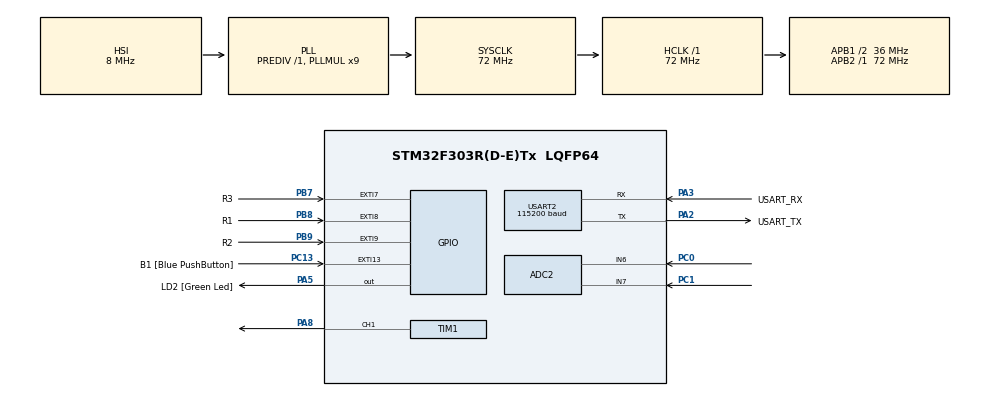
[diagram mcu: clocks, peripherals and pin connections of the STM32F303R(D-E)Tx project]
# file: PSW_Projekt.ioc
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ADC2.Channel-0\#ChannelRegularConversion=ADC_CHANNEL_6
ADC2.Channel-1\#ChannelRegularConversion=ADC_CHANNEL_6
ADC2.ClockPrescaler=ADC_CLOCK_SYNC_PCLK_DIV4
ADC2.ContinuousConvMode=ENABLE
ADC2.DMAContinuousRequests=ENABLE
ADC2.NbrOfConversion=2
ADC2.NbrOfConversionFlag=1
ADC2.Offset-0\#ChannelRegularConversion=0
ADC2.Offset-1\#ChannelRegularConversion=0
ADC2.OffsetNumber-0\#ChannelRegularConversion=ADC_OFFSET_NONE
ADC2.OffsetNumber-1\#ChannelRegularConversion=ADC_OFFSET_NONE
ADC2.Rank-0\#ChannelRegularConversion=1
ADC2.Rank-1\#ChannelRegularConversion=2
ADC2.SamplingTime-0\#ChannelRegularConversion=ADC_SAMPLETIME_601CYCLES_5
ADC2.SamplingTime-1\#ChannelRegularConversion=ADC_SAMPLETIME_601CYCLES_5
ADC2.SamplingTimeOPAMP-1\#ChannelRegularConversion=ADC_SAMPLETIME_7CYCLES_5
Dma.ADC2.0.Direction=DMA_PERIPH_TO_MEMORY
Dma.ADC2.0.Instance=DMA2_Channel1
Dma.ADC2.0.MemDataAlignment=DMA_MDATAALIGN_HALFWORD
Dma.ADC2.0.MemInc=DMA_MINC_ENABLE
Dma.ADC2.0.Mode=DMA_CIRCULAR
Dma.ADC2.0.PeriphDataAlignment=DMA_PDATAALIGN_HALFWORD
Dma.ADC2.0.PeriphInc=DMA_PINC_DISABLE
Dma.ADC2.0.Priority=DMA_PRIORITY_LOW
Dma.Request0=ADC2
Mcu.Family=STM32F3
Mcu.Name=STM32F303R(D-E)Tx
Mcu.Package=LQFP64
NVIC.DMA2_Channel1_IRQn=true\:0\:0\:false\:false\:true\:false\:true\:true
NVIC.EXTI9_5_IRQn=true\:0\:0\:false\:false\:true\:true\:true\:true
NVIC.PriorityGroup=NVIC_PRIORITYGROUP_0
PA13.GPIO_Label=TMS
PA13.Mode=Serial_Wire
PA13.Signal=SYS_JTMS-SWDIO
PA14.GPIO_Label=TCK
PA14.Mode=Serial_Wire
PA14.Signal=SYS_JTCK-SWCLK
PA2.GPIO_Label=USART_TX
PA2.GPIO_Mode=GPIO_MODE_AF_PP
PA2.GPIO_PuPd=GPIO_NOPULL
PA2.GPIO_Speed=GPIO_SPEED_FREQ_LOW
PA2.Mode=Asynchronous
PA2.Signal=USART2_TX
PA3.GPIO_Label=USART_RX
PA3.GPIO_Mode=GPIO_MODE_AF_PP
PA3.GPIO_PuPd=GPIO_NOPULL
PA3.GPIO_Speed=GPIO_SPEED_FREQ_LOW
PA3.Mode=Asynchronous
PA3.Signal=USART2_RX
PA5.GPIO_Label=LD2 [Green Led]
PA5.GPIO_Mode=GPIO_MODE_OUTPUT_PP
PA5.GPIO_PuPd=GPIO_NOPULL
PA5.GPIO_Speed=GPIO_SPEED_FREQ_LOW
PA5.Signal=GPIO_Output
PA8.Signal=S_TIM1_CH1
PB3.GPIO_Label=SWO
PB3.Signal=SYS_JTDO-TRACESWO
PB7.GPIO_Label=R3
PB7.Signal=GPXTI7
PB8.GPIO_Label=R1
PB8.Signal=GPXTI8
PB9.GPIO_Label=R2
PB9.Signal=GPXTI9
PC0.Signal=ADCx_IN6
PC1.Signal=ADCx_IN7
PC13.GPIO_Label=B1 [Blue PushButton]
PC13.GPIO_ModeDefaultEXTI=GPIO_MODE_IT_FALLING
PC13.Signal=GPXTI13
PC14-OSC32_IN.Mode=LSE-External-Oscillator
PC14-OSC32_IN.Signal=RCC_OSC32_IN
PC15-OSC32_OUT.Mode=LSE-External-Oscillator
PC15-OSC32_OUT.Signal=RCC_OSC32_OUT
PF0-OSC_IN.Mode=HSE-External-Clock-Source
PF0-OSC_IN.Signal=RCC_OSC_IN
PF1-OSC_OUT.Signal=RCC_OSC_OUT
ProjectManager.HeapSize=0x200
ProjectManager.StackSize=0x400
ProjectManager.TargetToolchain=STM32CubeIDE
RCC.AHBFreq_Value=72000000
RCC.APB1CLKDivider=RCC_HCLK_DIV2
RCC.APB1Freq_Value=36000000
RCC.APB1TimFreq_Value=72000000
RCC.APB2Freq_Value=72000000
RCC.APB2TimFreq_Value=72000000
RCC.CortexFreq_Value=72000000
RCC.HCLKFreq_Value=72000000
RCC.HSE_VALUE=8000000
RCC.HSI_VALUE=8000000
RCC.PLLM=8
RCC.PLLMUL=RCC_PLL_MUL9
RCC.PLLN=336
RCC.PLLP=RCC_PLLP_DIV4
RCC.PLLQ=7
RCC.RCC_PLLsource_Clock_Source_FROM_HSE=RCC_HSE_PREDIV_DIV2
RCC.SYSCLKFreq_VALUE=72000000
RCC.SYSCLKSourceVirtual=RCC_SYSCLKSOURCE_PLLCLK
RCC.USBFreq_Value=72000000
SH.ADCx_IN6.0=ADC2_IN6,IN6-Single-Ended
SH.ADCx_IN7.0=ADC2_IN7,IN7-Single-Ended
SH.S_TIM1_CH1.0=TIM1_CH1,PWM Generation1 CH1
TIM1.Channel-PWM\ Generation1\ CH1=TIM_CHANNEL_1
TIM1.Period=100
TIM1.Prescaler=200
TIM1.Pulse-PWM\ Generation1\ CH1=50
USART2.BaudRate=115200
USART2.VirtualMode-Asynchronous=VM_ASYNC
VP_TIM1_VS_ClockSourceINT.Mode=Internal
board=NUCLEO-F303RE

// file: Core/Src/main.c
/* USER CODE BEGIN Header */
/**
  ******************************************************************************
  * @file           : main.c
  * @brief          : Main program body
  ******************************************************************************
  * @attention
  *
  * Copyright (c) 2025 STMicroelectronics.
  * All rights reserved.
  *
  * This software is licensed under terms that can be found in the LICENSE file
  * in the root directory of this software component.
  * If no LICENSE file comes with this software, it is provided AS-IS.
  *
  ******************************************************************************
  */
/* USER CODE END Header */
#include "main.h"

/* USER CODE BEGIN Includes */
#include <stdio.h>
/* USER CODE END Includes */

ADC_HandleTypeDef hadc2;
DMA_HandleTypeDef hdma_adc2;

TIM_HandleTypeDef htim1;

UART_HandleTypeDef huart2;

void SystemClock_Config(void);
static void MX_GPIO_Init(void);
static void MX_DMA_Init(void);
static void MX_USART2_UART_Init(void);
static void MX_ADC2_Init(void);
static void MX_TIM1_Init(void);

/* USER CODE BEGIN 0 */
uint32_t currentTC=0;
uint32_t previousTC=0;
uint32_t period = 25;
int32_t duty = 0;
int32_t dir  = 1;

uint16_t Joystick[] = {0, 0};

int __io_putchar(int ch)
{
    HAL_UART_Transmit(&huart2, (uint8_t*)&ch, 1, HAL_MAX_DELAY);

    return 1;
}
/* USER CODE END 0 */

int main(void)
{

  /* MCU Configuration--------------------------------------------------------*/

  /* Reset of all peripherals, Initializes the Flash interface and the Systick. */
  HAL_Init();

  /* Configure the system clock */
  SystemClock_Config();

  /* Initialize all configured peripherals */
  MX_GPIO_Init();
  MX_DMA_Init();
  MX_USART2_UART_Init();
  MX_ADC2_Init();
  MX_TIM1_Init();
  /* USER CODE BEGIN 2 */
  HAL_ADC_Start_DMA(&hadc2, (long unsigned int *)Joystick, 2);
  HAL_TIM_PWM_Start(&htim1, TIM_CHANNEL_1);
  /* USER CODE END 2 */

  /* Infinite loop */
  /* USER CODE BEGIN WHILE */
  while (1)
  {

	 currentTC = HAL_GetTick();
	 if ((currentTC - previousTC) > period){
		 printf("%d %d \n \r", Joystick[0], Joystick[1]);

		 	__HAL_TIM_SET_COMPARE(&htim1, TIM_CHANNEL_1, duty);
		    duty += dir;

		    if (duty >= 100)
		    {
		        duty = 100;
		        dir  = -1;
		    }
		    else if (duty <= 0)
		    {
		        duty = 0;
		        dir  = +1;
		    }

		 previousTC = currentTC;
	 }else {

	 }
    /* USER CODE END WHILE */

  }
}

void SystemClock_Config(void)
{
  RCC_OscInitTypeDef RCC_OscInitStruct = {0};
  RCC_ClkInitTypeDef RCC_ClkInitStruct = {0};
  RCC_PeriphCLKInitTypeDef PeriphClkInit = {0};

  /** Initializes the RCC Oscillators according to the specified parameters
  * in the RCC_OscInitTypeDef structure.
  */
  RCC_OscInitStruct.OscillatorType = RCC_OSCILLATORTYPE_HSI;
  RCC_OscInitStruct.HSIState = RCC_HSI_ON;
  RCC_OscInitStruct.HSICalibrationValue = RCC_HSICALIBRATION_DEFAULT;
  RCC_OscInitStruct.PLL.PLLState = RCC_PLL_ON;
  RCC_OscInitStruct.PLL.PLLSource = RCC_PLLSOURCE_HSI;
  RCC_OscInitStruct.PLL.PLLMUL = RCC_PLL_MUL9;
  RCC_OscInitStruct.PLL.PREDIV = RCC_PREDIV_DIV1;
  if (HAL_RCC_OscConfig(&RCC_OscInitStruct) != HAL_OK)
  {
    Error_Handler();
  }

  /** Initializes the CPU, AHB and APB buses clocks
  */
  RCC_ClkInitStruct.ClockType = RCC_CLOCKTYPE_HCLK|RCC_CLOCKTYPE_SYSCLK
                              |RCC_CLOCKTYPE_PCLK1|RCC_CLOCKTYPE_PCLK2;
  RCC_ClkInitStruct.SYSCLKSource = RCC_SYSCLKSOURCE_PLLCLK;
  RCC_ClkInitStruct.AHBCLKDivider = RCC_SYSCLK_DIV1;
  RCC_ClkInitStruct.APB1CLKDivider = RCC_HCLK_DIV2;
  RCC_ClkInitStruct.APB2CLKDivider = RCC_HCLK_DIV1;

  if (HAL_RCC_ClockConfig(&RCC_ClkInitStruct, FLASH_LATENCY_2) != HAL_OK)
  {
    Error_Handler();
  }
  PeriphClkInit.PeriphClockSelection = RCC_PERIPHCLK_USART2|RCC_PERIPHCLK_TIM1;
  PeriphClkInit.Usart2ClockSelection = RCC_USART2CLKSOURCE_PCLK1;
  PeriphClkInit.Tim1ClockSelection = RCC_TIM1CLK_HCLK;
  if (HAL_RCCEx_PeriphCLKConfig(&PeriphClkInit) != HAL_OK)
  {
    Error_Handler();
  }
}

static void MX_ADC2_Init(void)
{

  ADC_ChannelConfTypeDef sConfig = {0};

  /** Common config
  */
  hadc2.Instance = ADC2;
  hadc2.Init.ClockPrescaler = ADC_CLOCK_SYNC_PCLK_DIV4;
  hadc2.Init.Resolution = ADC_RESOLUTION_12B;
  hadc2.Init.ScanConvMode = ADC_SCAN_ENABLE;
  hadc2.Init.ContinuousConvMode = ENABLE;
  hadc2.Init.DiscontinuousConvMode = DISABLE;
  hadc2.Init.ExternalTrigConvEdge = ADC_EXTERNALTRIGCONVEDGE_NONE;
  hadc2.Init.ExternalTrigConv = ADC_SOFTWARE_START;
  hadc2.Init.DataAlign = ADC_DATAALIGN_RIGHT;
  hadc2.Init.NbrOfConversion = 2;
  hadc2.Init.DMAContinuousRequests = ENABLE;
  hadc2.Init.EOCSelection = ADC_EOC_SINGLE_CONV;
  hadc2.Init.LowPowerAutoWait = DISABLE;
  hadc2.Init.Overrun = ADC_OVR_DATA_OVERWRITTEN;
  if (HAL_ADC_Init(&hadc2) != HAL_OK)
  {
    Error_Handler();
  }

  /** Configure Regular Channel
  */
  sConfig.Channel = ADC_CHANNEL_6;
  sConfig.Rank = ADC_REGULAR_RANK_1;
  sConfig.SingleDiff = ADC_SINGLE_ENDED;
  sConfig.SamplingTime = ADC_SAMPLETIME_601CYCLES_5;
  sConfig.OffsetNumber = ADC_OFFSET_NONE;
  sConfig.Offset = 0;
  if (HAL_ADC_ConfigChannel(&hadc2, &sConfig) != HAL_OK)
  {
    Error_Handler();
  }

  /** Configure Regular Channel
  */
  sConfig.Rank = ADC_REGULAR_RANK_2;
  if (HAL_ADC_ConfigChannel(&hadc2, &sConfig) != HAL_OK)
  {
    Error_Handler();
  }

}

static void MX_TIM1_Init(void)
{

  TIM_ClockConfigTypeDef sClockSourceConfig = {0};
  TIM_MasterConfigTypeDef sMasterConfig = {0};
  TIM_OC_InitTypeDef sConfigOC = {0};
  TIM_BreakDeadTimeConfigTypeDef sBreakDeadTimeConfig = {0};

  htim1.Instance = TIM1;
  htim1.Init.Prescaler = 200;
  htim1.Init.CounterMode = TIM_COUNTERMODE_UP;
  htim1.Init.Period = 100;
  htim1.Init.ClockDivision = TIM_CLOCKDIVISION_DIV1;
  htim1.Init.RepetitionCounter = 0;
  htim1.Init.AutoReloadPreload = TIM_AUTORELOAD_PRELOAD_DISABLE;
  if (HAL_TIM_Base_Init(&htim1) != HAL_OK)
  {
    Error_Handler();
  }
  sClockSourceConfig.ClockSource = TIM_CLOCKSOURCE_INTERNAL;
  if (HAL_TIM_ConfigClockSource(&htim1, &sClockSourceConfig) != HAL_OK)
  {
    Error_Handler();
  }
  if (HAL_TIM_PWM_Init(&htim1) != HAL_OK)
  {
    Error_Handler();
  }
  sMasterConfig.MasterOutputTrigger = TIM_TRGO_RESET;
  sMasterConfig.MasterOutputTrigger2 = TIM_TRGO2_RESET;
  sMasterConfig.MasterSlaveMode = TIM_MASTERSLAVEMODE_DISABLE;
  if (HAL_TIMEx_MasterConfigSynchronization(&htim1, &sMasterConfig) != HAL_OK)
  {
    Error_Handler();
  }
  sConfigOC.OCMode = TIM_OCMODE_PWM1;
  sConfigOC.Pulse = 50;
  sConfigOC.OCPolarity = TIM_OCPOLARITY_HIGH;
  sConfigOC.OCNPolarity = TIM_OCNPOLARITY_HIGH;
  sConfigOC.OCFastMode = TIM_OCFAST_DISABLE;
  sConfigOC.OCIdleState = TIM_OCIDLESTATE_RESET;
  sConfigOC.OCNIdleState = TIM_OCNIDLESTATE_RESET;
  if (HAL_TIM_PWM_ConfigChannel(&htim1, &sConfigOC, TIM_CHANNEL_1) != HAL_OK)
  {
    Error_Handler();
  }
  sBreakDeadTimeConfig.OffStateRunMode = TIM_OSSR_DISABLE;
  sBreakDeadTimeConfig.OffStateIDLEMode = TIM_OSSI_DISABLE;
  sBreakDeadTimeConfig.LockLevel = TIM_LOCKLEVEL_OFF;
  sBreakDeadTimeConfig.DeadTime = 0;
  sBreakDeadTimeConfig.BreakState = TIM_BREAK_DISABLE;
  sBreakDeadTimeConfig.BreakPolarity = TIM_BREAKPOLARITY_HIGH;
  sBreakDeadTimeConfig.BreakFilter = 0;
  sBreakDeadTimeConfig.Break2State = TIM_BREAK2_DISABLE;
  sBreakDeadTimeConfig.Break2Polarity = TIM_BREAK2POLARITY_HIGH;
  sBreakDeadTimeConfig.Break2Filter = 0;
  sBreakDeadTimeConfig.AutomaticOutput = TIM_AUTOMATICOUTPUT_DISABLE;
  if (HAL_TIMEx_ConfigBreakDeadTime(&htim1, &sBreakDeadTimeConfig) != HAL_OK)
  {
    Error_Handler();
  }
  HAL_TIM_MspPostInit(&htim1);

}

static void MX_USART2_UART_Init(void)
{

  huart2.Instance = USART2;
  huart2.Init.BaudRate = 115200;
  huart2.Init.WordLength = UART_WORDLENGTH_8B;
  huart2.Init.StopBits = UART_STOPBITS_1;
  huart2.Init.Parity = UART_PARITY_NONE;
  huart2.Init.Mode = UART_MODE_TX_RX;
  huart2.Init.HwFlowCtl = UART_HWCONTROL_NONE;
  huart2.Init.OverSampling = UART_OVERSAMPLING_16;
  huart2.Init.OneBitSampling = UART_ONE_BIT_SAMPLE_DISABLE;
  huart2.AdvancedInit.AdvFeatureInit = UART_ADVFEATURE_NO_INIT;
  if (HAL_UART_Init(&huart2) != HAL_OK)
  {
    Error_Handler();
  }

}

static void MX_DMA_Init(void)
{

  /* DMA controller clock enable */
  __HAL_RCC_DMA2_CLK_ENABLE();

  /* DMA interrupt init */
  /* DMA2_Channel1_IRQn interrupt configuration */
  HAL_NVIC_SetPriority(DMA2_Channel1_IRQn, 0, 0);
  HAL_NVIC_EnableIRQ(DMA2_Channel1_IRQn);

}

static void MX_GPIO_Init(void)
{
  GPIO_InitTypeDef GPIO_InitStruct = {0};

  /* GPIO Ports Clock Enable */
  __HAL_RCC_GPIOC_CLK_ENABLE();
  __HAL_RCC_GPIOF_CLK_ENABLE();
  __HAL_RCC_GPIOA_CLK_ENABLE();
  __HAL_RCC_GPIOB_CLK_ENABLE();

  /*Configure GPIO pin Output Level */
  HAL_GPIO_WritePin(LD2_GPIO_Port, LD2_Pin, GPIO_PIN_RESET);

  /*Configure GPIO pin : B1_Pin */
  GPIO_InitStruct.Pin = B1_Pin;
  GPIO_InitStruct.Mode = GPIO_MODE_IT_FALLING;
  GPIO_InitStruct.Pull = GPIO_NOPULL;
  HAL_GPIO_Init(B1_GPIO_Port, &GPIO_InitStruct);

  /*Configure GPIO pin : LD2_Pin */
  GPIO_InitStruct.Pin = LD2_Pin;
  GPIO_InitStruct.Mode = GPIO_MODE_OUTPUT_PP;
  GPIO_InitStruct.Pull = GPIO_NOPULL;
  GPIO_InitStruct.Speed = GPIO_SPEED_FREQ_LOW;
  HAL_GPIO_Init(LD2_GPIO_Port, &GPIO_InitStruct);

  /*Configure GPIO pins : R3_Pin R1_Pin R2_Pin */
  GPIO_InitStruct.Pin = R3_Pin|R1_Pin|R2_Pin;
  GPIO_InitStruct.Mode = GPIO_MODE_IT_RISING;
  GPIO_InitStruct.Pull = GPIO_NOPULL;
  HAL_GPIO_Init(GPIOB, &GPIO_InitStruct);

  /* EXTI interrupt init*/
  HAL_NVIC_SetPriority(EXTI9_5_IRQn, 0, 0);
  HAL_NVIC_EnableIRQ(EXTI9_5_IRQn);

}

void Error_Handler(void)
{
  __disable_irq();
  while (1)
  {
  }
}
